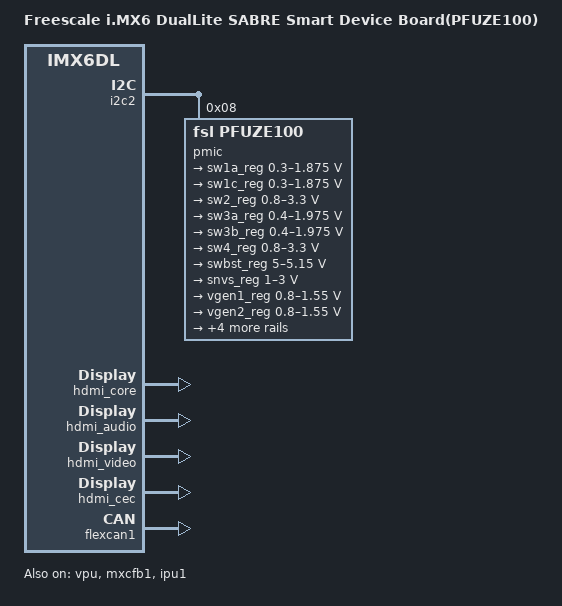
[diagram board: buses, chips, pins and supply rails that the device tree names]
/*

 * Copyright (C) 2013-2014 Freescale Semiconductor, Inc.

 *

 * This program is free software; you can redistribute it and/or modify

 * it under the terms of the GNU General Public License version 2 as

 * published by the Free Software Foundation.

 */



/dts-v1/;



#include "imx6dl-fsl.dtsi"

#include "imx6qdl-sabresd.dtsi"

/ {

	model = "Freescale i.MX6 DualLite SABRE Smart Device Board(PFUZE100)";

	compatible = "fsl,imx6dl-sabresd", "fsl,imx6dl";

};



&i2c2 {

	pmic: pfuze100@08 {

		compatible = "fsl,pfuze100";

		reg = <0x08>;



		regulators {

			sw1a_reg: sw1ab {

				regulator-min-microvolt = <300000>;

				regulator-max-microvolt = <1875000>;

				regulator-boot-on;

				regulator-always-on;

				regulator-ramp-delay = <6250>;

			};



			sw1c_reg: sw1c {

				regulator-min-microvolt = <300000>;

				regulator-max-microvolt = <1875000>;

				regulator-boot-on;

				regulator-always-on;

				regulator-ramp-delay = <6250>;

			};



			sw2_reg: sw2 {

				regulator-min-microvolt = <800000>;

				regulator-max-microvolt = <3300000>;

				regulator-boot-on;

				regulator-always-on;

			};



			sw3a_reg: sw3a {

				regulator-min-microvolt = <400000>;

				regulator-max-microvolt = <1975000>;

				regulator-boot-on;

				regulator-always-on;

			};



			sw3b_reg: sw3b {

				regulator-min-microvolt = <400000>;

				regulator-max-microvolt = <1975000>;

				regulator-boot-on;

				regulator-always-on;

			};



			sw4_reg: sw4 {

				regulator-min-microvolt = <800000>;

				regulator-max-microvolt = <3300000>;

			};



			swbst_reg: swbst {

				regulator-min-microvolt = <5000000>;

				regulator-max-microvolt = <5150000>;

			};



			snvs_reg: vsnvs {

				regulator-min-microvolt = <1000000>;

				regulator-max-microvolt = <3000000>;

				regulator-boot-on;

				regulator-always-on;

			};



			vref_reg: vrefddr {

				regulator-boot-on;

				regulator-always-on;

			};



			vgen1_reg: vgen1 {

				regulator-min-microvolt = <800000>;

				regulator-max-microvolt = <1550000>;

			};



			vgen2_reg: vgen2 {

				regulator-min-microvolt = <800000>;

				regulator-max-microvolt = <1550000>;

			};



			vgen3_reg: vgen3 {

				regulator-min-microvolt = <1800000>;

				regulator-max-microvolt = <3300000>;

			};



			vgen4_reg: vgen4 {

				regulator-min-microvolt = <1800000>;

				regulator-max-microvolt = <3300000>;

				regulator-always-on;

			};



			vgen5_reg: vgen5 {

				regulator-min-microvolt = <1800000>;

				regulator-max-microvolt = <3300000>;

				regulator-always-on;

			};



			vgen6_reg: vgen6 {

				regulator-min-microvolt = <1800000>;

				regulator-max-microvolt = <3300000>;

				regulator-always-on;

			};

		};

	};

};

&vpu{



 iramsize = <0>;

 status = "okay";



};

&mxcfb1 {
	compatible = "fsl,mxc_sdc_fb";
	disp_dev = "hdmi";
	interface_pix_fmt = "RGB24";
	mode_str ="1920x1080M@60";
	default_bpp = <32>;
	int_clk = <0>;
	late_init = <1>;
	fb_base = <0x18800000>;  /* Frame buffer base address, it is same as CONFIG_FB_BASE in Uboot. */
	fb_size = <0x01800000>;  /* Reserved display memory size, bigger than 3 x framer buffer size. */
	status = "okay";
};

&hdmi_core {
	ipu_id = <0>;
	disp_id = <0>;
	status = "okay";
};

&hdmi_audio {
	status = "okay";
};

/* EPT HDMI HDCP */
&hdmi_video {
	/* because i2c2 is used, disable it */
	/* pinctrl-names = "default"; */
	/* pinctrl-0 = <&pinctrl_hdmi_hdcp_1>; */
	/* fsl,hdcp; */

	fsl,phy_reg_vlev = <0x0294>;
	fsl,phy_reg_cksymtx = <0x800d>;
	status = "okay";
};

/* EPT HDMI CEC */
&hdmi_cec {
	pinctrl-names = "default";
	pinctrl-0 = <&pinctrl_hdmi_cec_2>;
	status = "okay";
};

&ipu1 {
	bypass_reset = <1>;
	status = "okay";
};

&flexcan1{
	pinctrl-names = "default";
	pinctrl-0 = <&pinctrl_flexcan1_0>;
	trx-stby-gpio=<&gpio4 5 GPIO_ACTIVE_LOW>;
		status = "okay";
};

